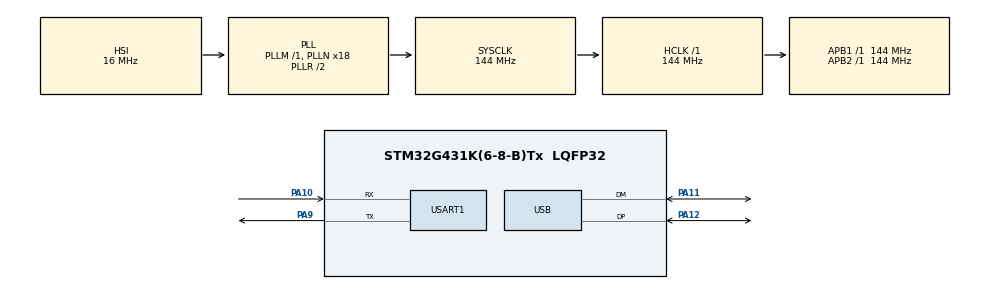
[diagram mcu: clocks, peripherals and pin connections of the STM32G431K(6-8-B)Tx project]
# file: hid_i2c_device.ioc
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Dma.Request0=USART1_RX
Dma.USART1_RX.0.Direction=DMA_PERIPH_TO_MEMORY
Dma.USART1_RX.0.EventEnable=DISABLE
Dma.USART1_RX.0.Instance=DMA1_Channel1
Dma.USART1_RX.0.MemDataAlignment=DMA_MDATAALIGN_BYTE
Dma.USART1_RX.0.MemInc=DMA_MINC_ENABLE
Dma.USART1_RX.0.Mode=DMA_NORMAL
Dma.USART1_RX.0.PeriphDataAlignment=DMA_PDATAALIGN_BYTE
Dma.USART1_RX.0.PeriphInc=DMA_PINC_DISABLE
Dma.USART1_RX.0.Polarity=HAL_DMAMUX_REQ_GEN_RISING
Dma.USART1_RX.0.Priority=DMA_PRIORITY_LOW
Dma.USART1_RX.0.RequestNumber=1
Dma.USART1_RX.0.SignalID=NONE
Dma.USART1_RX.0.SyncEnable=DISABLE
Dma.USART1_RX.0.SyncPolarity=HAL_DMAMUX_SYNC_NO_EVENT
Dma.USART1_RX.0.SyncRequestNumber=1
Dma.USART1_RX.0.SyncSignalID=NONE
Mcu.Family=STM32G4
Mcu.Name=STM32G431K(6-8-B)Tx
Mcu.Package=LQFP32
NVIC.DMA1_Channel1_IRQn=true\:0\:0\:false\:false\:true\:false\:true\:true
NVIC.PriorityGroup=NVIC_PRIORITYGROUP_4
NVIC.USART1_IRQn=true\:0\:0\:false\:false\:true\:true\:true\:true
NVIC.USB_LP_IRQn=true\:0\:0\:false\:false\:true\:false\:true\:true
PA10.Mode=Asynchronous
PA10.Signal=USART1_RX
PA11.Mode=Device
PA11.Signal=USB_DM
PA12.Mode=Device
PA12.Signal=USB_DP
PA9.Mode=Asynchronous
PA9.Signal=USART1_TX
PF0-OSC_IN.Mode=HSE-External-Oscillator
PF0-OSC_IN.Signal=RCC_OSC_IN
PF1-OSC_OUT.Mode=HSE-External-Oscillator
PF1-OSC_OUT.Signal=RCC_OSC_OUT
ProjectManager.HeapSize=0x200
ProjectManager.StackSize=0x400
ProjectManager.TargetToolchain=STM32CubeIDE
RCC.ADC12Freq_Value=144000000
RCC.AHBFreq_Value=144000000
RCC.APB1Freq_Value=144000000
RCC.APB1TimFreq_Value=144000000
RCC.APB2Freq_Value=144000000
RCC.APB2TimFreq_Value=144000000
RCC.CortexFreq_Value=144000000
RCC.EXTERNAL_CLOCK_VALUE=12288000
RCC.HCLKFreq_Value=144000000
RCC.HSE_VALUE=8000000
RCC.HSI48_VALUE=48000000
RCC.HSI_VALUE=16000000
RCC.LSE_VALUE=32768
RCC.PLLN=18
RCC.PLLQ=RCC_PLLQ_DIV6
RCC.SYSCLKFreq_VALUE=144000000
RCC.SYSCLKSource=RCC_SYSCLKSOURCE_PLLCLK
RCC.USBFreq_Value=48000000
RCC.VCOOutputFreq_Value=288000000
USART1.VirtualMode-Asynchronous=VM_ASYNC
USB_DEVICE.CLASS_NAME_FS=HID
USB_DEVICE.PRODUCT_STRING_HID_FS=Ati's keyboard
USB_DEVICE.VirtualMode=Hid
USB_DEVICE.VirtualModeFS=Hid_FS
VP_USB_DEVICE_VS_USB_DEVICE_HID_FS.Mode=HID_FS
board=NUCLEO-G431KB

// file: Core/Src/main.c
/* USER CODE BEGIN Header */
/**
  ******************************************************************************
  * @file           : main.c
  * @brief          : Main program body
  ******************************************************************************
  * @attention
  *
  * Copyright (c) 2022 STMicroelectronics.
  * All rights reserved.
  *
  * This software is licensed under terms that can be found in the LICENSE file
  * in the root directory of this software component.
  * If no LICENSE file comes with this software, it is provided AS-IS.
  *
  ******************************************************************************
  */
/* USER CODE END Header */
#include "main.h"
#include "usb_device.h"

/* USER CODE BEGIN Includes */
#include "usbd_hid.h"
/* USER CODE END Includes */

UART_HandleTypeDef huart1;
DMA_HandleTypeDef hdma_usart1_rx;

void SystemClock_Config(void);
static void MX_GPIO_Init(void);
static void MX_DMA_Init(void);
static void MX_USART1_UART_Init(void);

/* USER CODE BEGIN 0 */
extern USBD_HandleTypeDef hUsbDeviceFS;
uint8_t datareceiveflag=0;
typedef struct
{
	uint8_t MODIFIER;
	uint8_t RESERVED;
	uint8_t KEYCODE1;
	uint8_t KEYCODE2;
	uint8_t KEYCODE3;
	uint8_t KEYCODE4;
	uint8_t KEYCODE5;
	uint8_t KEYCODE6;
} keyboardHID;

keyboardHID keyboard = {0,0,0,0,0,0,0,0};
void HAL_UART_RxCpltCallback(UART_HandleTypeDef *huart){
	if(datareceiveflag==0)
		datareceiveflag=1;

}

/* USER CODE END 0 */

int main(void)
{
  /* USER CODE BEGIN 1 */
	uint8_t databuff[7];
  /* USER CODE END 1 */

  /* MCU Configuration--------------------------------------------------------*/

  /* Reset of all peripherals, Initializes the Flash interface and the Systick. */
  HAL_Init();

  /* Configure the system clock */
  SystemClock_Config();

  /* Initialize all configured peripherals */
  MX_GPIO_Init();
  MX_DMA_Init();
  MX_USB_Device_Init();
  MX_USART1_UART_Init();
  /* USER CODE BEGIN 2 */
  HAL_UART_Receive_DMA(&huart1, databuff, 7);
  /* USER CODE END 2 */

  /* Infinite loop */
  while (1)
  {

    /* USER CODE BEGIN 3 */
	  if(datareceiveflag==1){
		  keyboard.MODIFIER = databuff[0];
		  keyboard.KEYCODE1 = databuff[1];
		  keyboard.KEYCODE2 = databuff[2];
		  keyboard.KEYCODE3 = databuff[3];
		  keyboard.KEYCODE4 = databuff[4];
		  keyboard.KEYCODE5 = databuff[5];
		  keyboard.KEYCODE6 = databuff[6];
		  USBD_HID_SendReport(&hUsbDeviceFS, &keyboard, sizeof (keyboard));
		  datareceiveflag=0;
	  }

  }
  /* USER CODE END 3 */
}

void SystemClock_Config(void)
{
  RCC_OscInitTypeDef RCC_OscInitStruct = {0};
  RCC_ClkInitTypeDef RCC_ClkInitStruct = {0};

  /** Configure the main internal regulator output voltage
  */
  HAL_PWREx_ControlVoltageScaling(PWR_REGULATOR_VOLTAGE_SCALE1);

  /** Initializes the RCC Oscillators according to the specified parameters
  * in the RCC_OscInitTypeDef structure.
  */
  RCC_OscInitStruct.OscillatorType = RCC_OSCILLATORTYPE_HSI;
  RCC_OscInitStruct.HSIState = RCC_HSI_ON;
  RCC_OscInitStruct.HSICalibrationValue = RCC_HSICALIBRATION_DEFAULT;
  RCC_OscInitStruct.PLL.PLLState = RCC_PLL_ON;
  RCC_OscInitStruct.PLL.PLLSource = RCC_PLLSOURCE_HSI;
  RCC_OscInitStruct.PLL.PLLM = RCC_PLLM_DIV1;
  RCC_OscInitStruct.PLL.PLLN = 18;
  RCC_OscInitStruct.PLL.PLLP = RCC_PLLP_DIV2;
  RCC_OscInitStruct.PLL.PLLQ = RCC_PLLQ_DIV6;
  RCC_OscInitStruct.PLL.PLLR = RCC_PLLR_DIV2;
  if (HAL_RCC_OscConfig(&RCC_OscInitStruct) != HAL_OK)
  {
    Error_Handler();
  }

  /** Initializes the CPU, AHB and APB buses clocks
  */
  RCC_ClkInitStruct.ClockType = RCC_CLOCKTYPE_HCLK|RCC_CLOCKTYPE_SYSCLK
                              |RCC_CLOCKTYPE_PCLK1|RCC_CLOCKTYPE_PCLK2;
  RCC_ClkInitStruct.SYSCLKSource = RCC_SYSCLKSOURCE_PLLCLK;
  RCC_ClkInitStruct.AHBCLKDivider = RCC_SYSCLK_DIV1;
  RCC_ClkInitStruct.APB1CLKDivider = RCC_HCLK_DIV1;
  RCC_ClkInitStruct.APB2CLKDivider = RCC_HCLK_DIV1;

  if (HAL_RCC_ClockConfig(&RCC_ClkInitStruct, FLASH_LATENCY_4) != HAL_OK)
  {
    Error_Handler();
  }
}

static void MX_USART1_UART_Init(void)
{

  huart1.Instance = USART1;
  huart1.Init.BaudRate = 115200;
  huart1.Init.WordLength = UART_WORDLENGTH_8B;
  huart1.Init.StopBits = UART_STOPBITS_1;
  huart1.Init.Parity = UART_PARITY_NONE;
  huart1.Init.Mode = UART_MODE_TX_RX;
  huart1.Init.HwFlowCtl = UART_HWCONTROL_NONE;
  huart1.Init.OverSampling = UART_OVERSAMPLING_16;
  huart1.Init.OneBitSampling = UART_ONE_BIT_SAMPLE_DISABLE;
  huart1.Init.ClockPrescaler = UART_PRESCALER_DIV1;
  huart1.AdvancedInit.AdvFeatureInit = UART_ADVFEATURE_NO_INIT;
  if (HAL_UART_Init(&huart1) != HAL_OK)
  {
    Error_Handler();
  }
  if (HAL_UARTEx_SetTxFifoThreshold(&huart1, UART_TXFIFO_THRESHOLD_1_8) != HAL_OK)
  {
    Error_Handler();
  }
  if (HAL_UARTEx_SetRxFifoThreshold(&huart1, UART_RXFIFO_THRESHOLD_1_8) != HAL_OK)
  {
    Error_Handler();
  }
  if (HAL_UARTEx_DisableFifoMode(&huart1) != HAL_OK)
  {
    Error_Handler();
  }

}

static void MX_DMA_Init(void)
{

  /* DMA controller clock enable */
  __HAL_RCC_DMAMUX1_CLK_ENABLE();
  __HAL_RCC_DMA1_CLK_ENABLE();

  /* DMA interrupt init */
  /* DMA1_Channel1_IRQn interrupt configuration */
  HAL_NVIC_SetPriority(DMA1_Channel1_IRQn, 0, 0);
  HAL_NVIC_EnableIRQ(DMA1_Channel1_IRQn);

}

static void MX_GPIO_Init(void)
{

  /* GPIO Ports Clock Enable */
  __HAL_RCC_GPIOF_CLK_ENABLE();
  __HAL_RCC_GPIOA_CLK_ENABLE();

}

void Error_Handler(void)
{
  __disable_irq();
  while (1)
  {
  }
}
